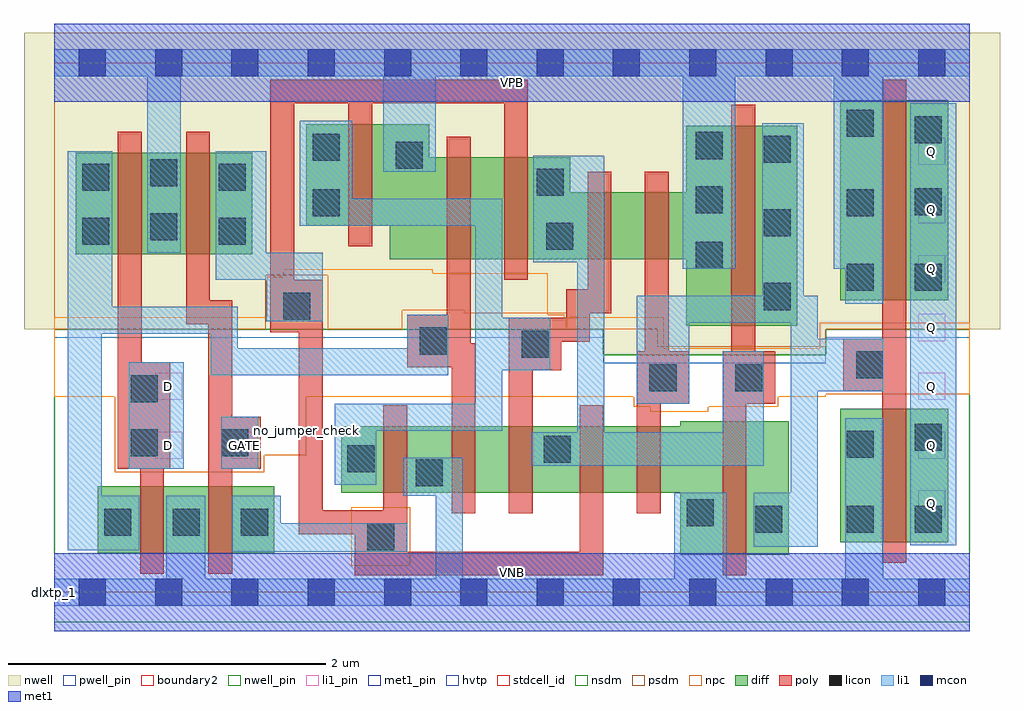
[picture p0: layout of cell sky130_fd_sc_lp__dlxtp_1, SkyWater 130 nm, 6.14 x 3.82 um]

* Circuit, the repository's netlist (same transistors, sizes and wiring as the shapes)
* Copyright 2020 The SkyWater PDK Authors
*
* Licensed under the Apache License, Version 2.0 (the "License");
* you may not use this file except in compliance with the License.
* You may obtain a copy of the License at
*
*     https://www.apache.org/licenses/LICENSE-2.0
*
* Unless required by applicable law or agreed to in writing, software
* distributed under the License is distributed on an "AS IS" BASIS,
* WITHOUT WARRANTIES OR CONDITIONS OF ANY KIND, either express or implied.
* See the License for the specific language governing permissions and
* limitations under the License.
*
* SPDX-License-Identifier: Apache-2.0

.SUBCKT sky130_fd_sc_lp__dlxtp_1 D GATE VGND VNB VPB VPWR Q
*.PININFO D:I GATE:I VGND:I VNB:I VPB:I VPWR:I Q:O
MI635 clkpos clkneg VPWR VPB sky130_fd_pr__pfet_01v8_hvt m=1 w=0.64U l=0.15U mult=1
+ sa=0.265 sb=0.265 sd=0.28 area=0.063 perim=1.14
MI17 M0 clkneg net51 VPB sky130_fd_pr__pfet_01v8_hvt m=1 w=0.64U l=0.15U mult=1
+ sa=0.265 sb=0.265 sd=0.28 area=0.063 perim=1.14
MI650 Q m1 VPWR VPB sky130_fd_pr__pfet_01v8_hvt m=1 w=1.26U l=0.15U mult=1 sa=0.265
+ sb=0.265 sd=0.28 area=0.063 perim=1.14
MI633 clkneg GATE VPWR VPB sky130_fd_pr__pfet_01v8_hvt m=1 w=0.64U l=0.15U mult=1
+ sa=0.265 sb=0.265 sd=0.28 area=0.063 perim=1.14
MI18 net51 db VPWR VPB sky130_fd_pr__pfet_01v8_hvt m=1 w=0.64U l=0.15U mult=1 sa=0.265
+ sb=0.265 sd=0.28 area=0.063 perim=1.14
MI653 net59 m1 VPWR VPB sky130_fd_pr__pfet_01v8_hvt m=1 w=0.42U l=0.15U mult=1
+ sa=0.265 sb=0.265 sd=0.28 area=0.063 perim=1.14
MI651 M0 clkpos net59 VPB sky130_fd_pr__pfet_01v8_hvt m=1 w=0.42U l=0.15U mult=1
+ sa=0.265 sb=0.265 sd=0.28 area=0.063 perim=1.14
MI655 m1 M0 VPWR VPB sky130_fd_pr__pfet_01v8_hvt m=1 w=1.26U l=0.15U mult=1 sa=0.265
+ sb=0.265 sd=0.28 area=0.063 perim=1.14
MI638 db D VPWR VPB sky130_fd_pr__pfet_01v8_hvt m=1 w=0.64U l=0.15U mult=1 sa=0.265
+ sb=0.265 sd=0.28 area=0.063 perim=1.14
MI634 clkneg GATE VGND VNB sky130_fd_pr__nfet_01v8 m=1 w=0.42U l=0.15U mult=1 sa=0.265
+ sb=0.265 sd=0.28 area=0.063 perim=1.14
MI649 Q m1 VGND VNB sky130_fd_pr__nfet_01v8 m=1 w=0.84U l=0.15U mult=1 sa=0.265
+ sb=0.265 sd=0.28 area=0.063 perim=1.14
MI652 M0 clkneg net102 VNB sky130_fd_pr__nfet_01v8 m=1 w=0.42U l=0.15U mult=1 sa=0.265
+ sb=0.265 sd=0.28 area=0.063 perim=1.14
MI654 net102 m1 VGND VNB sky130_fd_pr__nfet_01v8 m=1 w=0.42U l=0.15U mult=1 sa=0.265
+ sb=0.265 sd=0.28 area=0.063 perim=1.14
MI656 m1 M0 VGND VNB sky130_fd_pr__nfet_01v8 m=1 w=0.84U l=0.15U mult=1 sa=0.265
+ sb=0.265 sd=0.28 area=0.063 perim=1.14
MI636 clkpos clkneg VGND VNB sky130_fd_pr__nfet_01v8 m=1 w=0.42U l=0.15U mult=1
+ sa=0.265 sb=0.265 sd=0.28 area=0.063 perim=1.14
MI637 db D VGND VNB sky130_fd_pr__nfet_01v8 m=1 w=0.42U l=0.15U mult=1 sa=0.265
+ sb=0.265 sd=0.28 area=0.063 perim=1.14
MI19 M0 clkpos net98 VNB sky130_fd_pr__nfet_01v8 m=1 w=0.42U l=0.15U mult=1 sa=0.265
+ sb=0.265 sd=0.28 area=0.063 perim=1.14
MI20 net98 db VGND VNB sky130_fd_pr__nfet_01v8 m=1 w=0.42U l=0.15U mult=1 sa=0.265
+ sb=0.265 sd=0.28 area=0.063 perim=1.14
.ENDS sky130_fd_sc_lp__dlxtp_1

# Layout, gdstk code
import gdstk
lib = gdstk.Library(unit=1e-6, precision=1e-09)
def R(c, l, rs):  # rectangles x0, y0, x1, y1
    for r in rs: c.add(gdstk.rectangle(r[:2], r[2:], *l))
def A(c, l, x, y, w, h, nx, ny, dx, dy):  # array of equal rectangles
    R(c, l, [(x+i*dx, y+j*dy, x+i*dx+w, y+j*dy+h) for i in range(nx) for j in range(ny)])
def P(c, l, *ps):  # polygons
    for p in ps: c.add(gdstk.Polygon(p, *l))
nwell_pin = (64, 16)
nwell = (64, 20)
diff = (65, 20)
poly = (66, 20)
licon = (66, 44)
li1_pin = (67, 16)
li1 = (67, 20)
mcon = (67, 44)
met1_pin = (68, 16)
met1 = (68, 20)
hvtp = (78, 44)
stdcell_id = (81, 4)
nsdm = (93, 44)
psdm = (94, 20)
npc = (95, 20)
pwell_pin = (122, 16)
boundary2 = (236, 0)

sky130_fd_sc_lp__dlxtp_1 = lib.new_cell('sky130_fd_sc_lp__dlxtp_1')
R(sky130_fd_sc_lp__dlxtp_1, nwell_pin, [(0,3.085,5.76,3.33)])
P(sky130_fd_sc_lp__dlxtp_1, nwell, [(5.95,3.52),(-0.19,3.52),(-0.19,1.655),(3.455,1.655),(3.455,1.495),(4.855,1.495),(4.855,1.655),(5.95,1.655)])
R(sky130_fd_sc_lp__dlxtp_1, diff, [(0.275,0.245,1.385,0.665), (4.945,0.315,5.625,1.155), (4.945,1.835,5.625,3.095), (0.135,2.125,1.245,2.765)])
P(sky130_fd_sc_lp__dlxtp_1, diff, [(4.62,1.075),(3.94,1.075),(3.94,1.045),(1.805,1.045),(1.805,0.625),(3.94,0.625),(3.94,0.235),(4.62,0.235)],
  [(4.675,2.935),(3.975,2.935),(3.975,2.515),(3.245,2.515),(3.245,2.735),(2.36,2.735),(2.36,2.945),(1.585,2.945),(1.585,2.305),(2.11,2.305),(2.11,2.095),(3.975,2.095),(3.975,1.675),(4.675,1.675)])
P(sky130_fd_sc_lp__dlxtp_1, poly, [(0.73,1.445),(0.55,1.445),(0.55,2.895),(0.4,2.895),(0.4,0.775),(0.54,0.775),(0.54,0.115),(0.69,0.115),(0.69,0.775),(0.73,0.775)],
  [(1.3,1.105),(1.12,1.105),(1.12,1.835),(0.98,1.835),(0.98,2.895),(0.83,2.895),(0.83,1.685),(0.97,1.685),(0.97,0.115),(1.12,0.115),(1.12,0.775),(1.3,0.775)],
  [(2.65,1.565),(2.62,1.565),(2.62,2.865),(2.47,2.865),(2.47,1.745),(2.22,1.745),(2.22,1.415),(2.5,1.415),(2.5,0.495),(2.65,0.495)],
  [(3.455,1.175),(3.305,1.175),(3.305,0.255),(2.22,0.255),(2.22,1.175),(2.07,1.175),(2.07,0.515),(1.69,0.515),(1.69,1.965),(1.51,1.965),(1.51,3.075),(1.85,3.075),(1.85,2.175),(2,2.175),(2,3.075),(2.83,3.075),(2.83,1.965),(2.98,1.965),(2.98,3.225),(1.36,3.225),(1.36,1.635),(1.54,1.635),(1.54,0.365),(1.89,0.365),(1.89,0.105),(3.455,0.105)],
  [(3.505,2.645),(3.355,2.645),(3.355,1.905),(3.22,1.905),(3.22,1.725),(2.86,1.725),(2.86,0.495),(3.01,0.495),(3.01,1.395),(3.19,1.395),(3.19,1.575),(3.37,1.575),(3.37,1.755),(3.505,1.755)],
  [(3.995,1.515),(3.865,1.515),(3.865,2.645),(3.715,2.645),(3.715,1.515),(3.665,1.515),(3.665,0.495),(3.815,0.495),(3.815,1.185),(3.995,1.185)],
  [(4.535,1.515),(4.41,1.515),(4.41,3.065),(4.26,3.065),(4.26,1.515),(4.205,1.515),(4.205,0.105),(4.355,0.105),(4.355,1.185),(4.535,1.185)],
  [(5.36,3.225),(5.21,3.225),(5.21,1.595),(4.965,1.595),(4.965,1.265),(5.21,1.265),(5.21,0.185),(5.36,0.185)])
A(sky130_fd_sc_lp__dlxtp_1, licon, 0.315, 0.355, 0.17, 0.17, 3, 1, 0.43, 0)
R(sky130_fd_sc_lp__dlxtp_1, licon, [(1.97,0.265,2.14,0.435), (4.41,0.375,4.58,0.545), (4.985,0.375,5.155,0.545), (5.415,0.375,5.585,0.545), (3.98,0.415,4.15,0.585), (2.275,0.665,2.445,0.835), (1.845,0.755,2.015,0.925), (3.08,0.815,3.25,0.985), (4.985,0.845,5.155,1.015), (0.48,0.855,0.65,1.025), (1.05,0.855,1.22,1.025), (5.415,0.89,5.585,1.06), (0.48,1.195,0.65,1.365), (3.745,1.265,3.915,1.435), (4.285,1.265,4.455,1.435), (5.045,1.345,5.215,1.515), (2.94,1.475,3.11,1.645), (2.3,1.495,2.47,1.665), (1.44,1.715,1.61,1.885), (4.465,1.775,4.635,1.945), (4.985,1.895,5.155,2.065), (5.415,1.895,5.585,2.065), (4.035,2.035,4.205,2.205), (3.095,2.155,3.265,2.325), (0.175,2.185,0.345,2.355), (1.035,2.185,1.205,2.355), (0.605,2.215,0.775,2.385), (4.465,2.24,4.635,2.41), (1.625,2.365,1.795,2.535), (4.985,2.365,5.155,2.535), (5.415,2.37,5.585,2.54), (4.035,2.385,4.205,2.555), (3.035,2.495,3.205,2.665), (0.175,2.525,0.345,2.695), (1.035,2.525,1.205,2.695), (0.605,2.555,0.775,2.725), (2.15,2.665,2.32,2.835), (4.465,2.7,4.635,2.87), (1.625,2.715,1.795,2.885), (4.035,2.725,4.205,2.895), (5.415,2.825,5.585,2.995), (4.985,2.865,5.155,3.035)])
A(sky130_fd_sc_lp__dlxtp_1, li1_pin, 5.435, 0.47, 0.17, 0.17, 1, 7, 0, 0.37)
R(sky130_fd_sc_lp__dlxtp_1, li1_pin, [(0.635,0.84,0.805,1.01), (1.115,0.84,1.285,1.01), (0.635,1.21,0.805,1.38)])
R(sky130_fd_sc_lp__dlxtp_1, li1, [(5.385,0.295,5.675,3.075), (0.47,0.775,0.815,1.445), (1.05,0.775,1.285,1.105)])
P(sky130_fd_sc_lp__dlxtp_1, li1, [(5.76,3.415),(0,3.415),(0,3.245),(0.585,3.245),(0.585,2.135),(0.795,2.135),(0.795,3.245),(2.07,3.245),(2.07,2.645),(2.4,2.645),(2.4,3.245),(3.955,3.245),(3.955,2.035),(4.285,2.035),(4.285,3.245),(4.905,3.245),(4.905,2.035),(4.975,2.035),(4.975,1.815),(5.215,1.815),(5.215,3.245),(5.76,3.245)],
  [(2.4,0.085),(2.4,0.605),(2.195,0.605),(2.195,0.845),(2.57,0.845),(2.57,0.085),(3.9,0.085),(3.9,0.625),(4.23,0.625),(4.23,0.085),(4.975,0.085),(4.975,1.095),(5.215,1.095),(5.215,0.085),(5.76,0.085),(5.76,-0.085),(0,-0.085),(0,0.085),(0.705,0.085),(0.705,0.605),(0.95,0.605),(0.95,0.085)],
  [(4.455,1.865),(4.455,2.95),(4.715,2.95),(4.715,1.865),(4.805,1.865),(4.805,1.595),(5.215,1.595),(5.215,1.265),(4.805,1.265),(4.805,0.285),(4.4,0.285),(4.4,0.625),(4.635,0.625),(4.635,1.695),(3.995,1.695),(3.995,1.185),(3.665,1.185),(3.665,1.865)],
  [(3.29,1.005),(3.29,2.075),(3.015,2.075),(3.015,2.745),(3.46,2.745),(3.46,1.005),(4.205,1.005),(4.205,1.515),(4.465,1.515),(4.465,0.795),(3,0.795),(3,1.005)],
  [(1.875,2.475),(2.82,2.475),(2.82,1.725),(3.12,1.725),(3.12,1.395),(2.82,1.395),(2.82,1.015),(2.025,1.015),(2.025,0.675),(1.765,0.675),(1.765,1.185),(2.65,1.185),(2.65,2.305),(1.545,2.305),(1.545,2.965),(1.875,2.965)],
  [(1.335,1.705),(1.335,1.965),(1.015,1.965),(1.015,2.775),(1.335,2.775),(1.335,2.135),(1.69,2.135),(1.69,1.705)],
  [(0.365,1.795),(1.155,1.795),(1.155,1.535),(2.22,1.535),(2.22,1.745),(2.48,1.745),(2.48,1.365),(0.985,1.365),(0.985,1.625),(0.3,1.625),(0.3,0.605),(0.535,0.605),(0.535,0.265),(0.085,0.265),(0.085,2.775),(0.365,2.775)],
  [(1.425,0.435),(2.22,0.435),(2.22,0.255),(1.12,0.255),(1.12,0.605),(1.425,0.605)])
A(sky130_fd_sc_lp__dlxtp_1, mcon, 0.155, -0.085, 0.17, 0.17, 12, 2, 0.48, 3.33)
R(sky130_fd_sc_lp__dlxtp_1, met1_pin, [(0,0,5.76,0.245), (0,3.085,5.76,3.33)])
R(sky130_fd_sc_lp__dlxtp_1, met1, [(0,-0.245,5.76,0.245), (0,3.085,5.76,3.575)])
P(sky130_fd_sc_lp__dlxtp_1, hvtp, [(5.76,3.33),(0,3.33),(0,1.6),(3.455,1.6),(3.455,1.44),(4.855,1.44),(4.855,1.6),(5.76,1.6)])
R(sky130_fd_sc_lp__dlxtp_1, stdcell_id, [(0,0,5.76,3.33)])
P(sky130_fd_sc_lp__dlxtp_1, nsdm, [(5.76,1.655),(4.855,1.655),(4.855,1.495),(3.455,1.495),(3.455,1.655),(0,1.655),(0,-0.19),(5.76,-0.19)])
P(sky130_fd_sc_lp__dlxtp_1, psdm, [(5.76,3.52),(0,3.52),(0,1.655),(1.33,1.655),(1.33,1.995),(1.72,1.995),(1.72,1.655),(2.19,1.655),(2.19,1.775),(2.58,1.775),(2.58,1.755),(3.22,1.755),(3.22,1.655),(3.795,1.655),(3.795,1.545),(4.855,1.545),(4.855,1.655),(5.76,1.655)])
R(sky130_fd_sc_lp__dlxtp_1, npc, [(1.87,0.165,2.24,0.535)])
P(sky130_fd_sc_lp__dlxtp_1, npc, [(5.76,1.695),(4.815,1.695),(4.815,1.535),(3.835,1.535),(3.835,1.73),(3.21,1.73),(3.21,1.745),(3.105,1.745),(3.105,2.005),(2.38,2.005),(2.38,2.03),(1.445,2.03),(1.445,1.985),(1.34,1.985),(1.34,1.73),(0,1.73),(0,1.23),(0.38,1.23),(0.38,0.755),(1.32,0.755),(1.32,0.86),(1.585,0.86),(1.585,1.23),(3.645,1.23),(3.645,1.165),(3.75,1.165),(3.75,1.135),(4.115,1.135),(4.115,1.165),(4.555,1.165),(4.555,1.23),(4.855,1.23),(4.855,1.245),(5.76,1.245)])
R(sky130_fd_sc_lp__dlxtp_1, pwell_pin, [(0,0,5.76,0.245)])
R(sky130_fd_sc_lp__dlxtp_1, boundary2, [(0,0,5.76,3.33)])
sky130_fd_sc_lp__dlxtp_1.add(gdstk.Label('VNB', (2.88,0.123), layer=64, texttype=59))
sky130_fd_sc_lp__dlxtp_1.add(gdstk.Label('VPB', (2.88,3.208), layer=64, texttype=5))
sky130_fd_sc_lp__dlxtp_1.add(gdstk.Label('dlxtp_1', (0,0), layer=83, texttype=44))
sky130_fd_sc_lp__dlxtp_1.add(gdstk.Label('no_jumper_check', (1.59,1.02), layer=83, texttype=44))
sky130_fd_sc_lp__dlxtp_1.add(gdstk.Label('VPWR', (2.88,3.208), layer=68, texttype=5))
sky130_fd_sc_lp__dlxtp_1.add(gdstk.Label('VGND', (2.88,0.123), layer=68, texttype=5))
sky130_fd_sc_lp__dlxtp_1.add(gdstk.Label('GATE', (1.2,0.925), layer=67, texttype=5))
sky130_fd_sc_lp__dlxtp_1.add(gdstk.Label('D', (0.72,0.925), layer=67, texttype=5))
sky130_fd_sc_lp__dlxtp_1.add(gdstk.Label('D', (0.72,1.295), layer=67, texttype=5))
sky130_fd_sc_lp__dlxtp_1.add(gdstk.Label('Q', (5.52,0.555), layer=67, texttype=5))
sky130_fd_sc_lp__dlxtp_1.add(gdstk.Label('Q', (5.52,0.925), layer=67, texttype=5))
sky130_fd_sc_lp__dlxtp_1.add(gdstk.Label('Q', (5.52,1.295), layer=67, texttype=5))
sky130_fd_sc_lp__dlxtp_1.add(gdstk.Label('Q', (5.52,1.665), layer=67, texttype=5))
sky130_fd_sc_lp__dlxtp_1.add(gdstk.Label('Q', (5.52,2.035), layer=67, texttype=5))
sky130_fd_sc_lp__dlxtp_1.add(gdstk.Label('Q', (5.52,2.405), layer=67, texttype=5))
sky130_fd_sc_lp__dlxtp_1.add(gdstk.Label('Q', (5.52,2.775), layer=67, texttype=5))

lib.write_gds('sky130_fd_sc_lp__dlxtp_1.gds')
